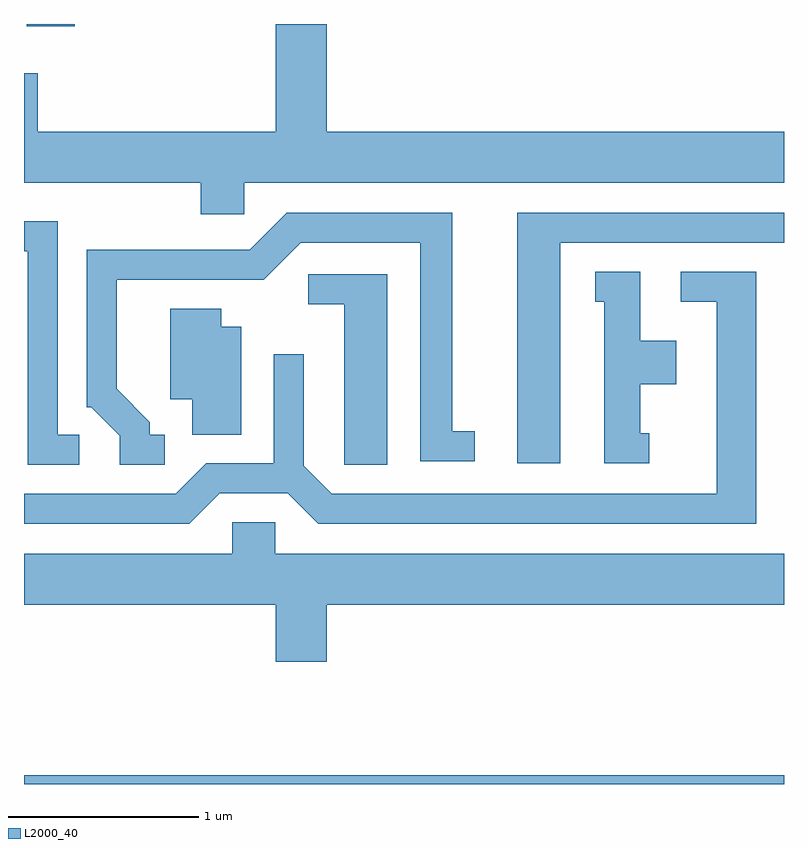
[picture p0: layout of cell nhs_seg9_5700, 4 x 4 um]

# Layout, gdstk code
import gdstk
lib = gdstk.Library(unit=1e-6, precision=1e-09)
def R(c, l, rs):  # rectangles x0, y0, x1, y1
    for r in rs: c.add(gdstk.rectangle(r[:2], r[2:], *l))
def P(c, l, *ps):  # polygons
    for p in ps: c.add(gdstk.Polygon(p, *l))
L2000_40 = (2000, 40)

nhs_seg9_5700 = lib.new_cell('nhs_seg9_5700')
R(nhs_seg9_5700, L2000_40, [(353.611,1986.432,357.611,1986.479), (353.626,1990.421,353.879,1990.432)])
P(nhs_seg9_5700, L2000_40, [(354.769,1989.596),(357.611,1989.596),(357.611,1989.864),(355.204,1989.864),(355.204,1990.432),(354.936,1990.432),(354.936,1989.864),(353.684,1989.864),(353.684,1990.174),(353.611,1990.174),(353.611,1989.596),(354.541,1989.596),(354.541,1989.431),(354.769,1989.431)],
  [(356.434,1989.281),(357.611,1989.281),(357.611,1989.439),(356.206,1989.439),(356.206,1988.121),(356.434,1988.121)],
  [(354.353,1988.269),(354.274,1988.269),(354.274,1988.337),(354.099,1988.512),(354.099,1989.086),(354.872,1989.086),(355.067,1989.281),(355.696,1989.281),(355.696,1988.131),(355.983,1988.131),(355.983,1988.289),(355.864,1988.289),(355.864,1989.439),(354.994,1989.439),(354.799,1989.244),(353.941,1989.244),(353.941,1988.416),(353.964,1988.416),(354.116,1988.264),(354.116,1988.111),(354.353,1988.111)],
  [(353.903,1988.269),(353.789,1988.269),(353.789,1989.394),(353.611,1989.394),(353.611,1989.236),(353.631,1989.236),(353.631,1988.111),(353.903,1988.111)],
  [(356.903,1988.279),(356.854,1988.279),(356.854,1988.536),(357.044,1988.536),(357.044,1988.764),(356.854,1988.764),(356.854,1989.129),(356.618,1989.129),(356.618,1988.971),(356.666,1988.971),(356.666,1988.121),(356.903,1988.121)],
  [(354.642,1987.961),(354.999,1987.961),(355.159,1987.801),(357.464,1987.801),(357.464,1989.129),(357.068,1989.129),(357.068,1988.971),(357.256,1988.971),(357.256,1987.959),(355.232,1987.959),(355.084,1988.107),(355.084,1988.693),(354.926,1988.693),(354.926,1988.119),(354.569,1988.119),(354.409,1987.959),(353.611,1987.959),(353.611,1987.801),(354.482,1987.801)],
  [(355.524,1989.114),(355.108,1989.114),(355.108,1988.956),(355.296,1988.956),(355.296,1988.111),(355.524,1988.111)],
  [(354.754,1988.839),(354.649,1988.839),(354.649,1988.934),(354.381,1988.934),(354.381,1988.456),(354.496,1988.456),(354.496,1988.271),(354.754,1988.271)],
  [(355.204,1987.376),(357.611,1987.376),(357.611,1987.644),(354.934,1987.644),(354.934,1987.809),(354.706,1987.809),(354.706,1987.644),(353.611,1987.644),(353.611,1987.376),(354.936,1987.376),(354.936,1987.076),(355.204,1987.076)])

lib.write_gds('nhs_seg9_5700.gds')
